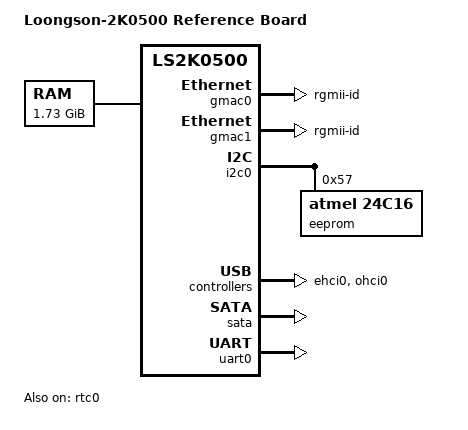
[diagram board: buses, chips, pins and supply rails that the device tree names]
// SPDX-License-Identifier: GPL-2.0
/*
 * Copyright (C) 2023 Loongson Technology Corporation Limited
 */

/dts-v1/;

#include "loongson-2k0500.dtsi"

/ {
	compatible = "loongson,ls2k0500-ref", "loongson,ls2k0500";
	model = "Loongson-2K0500 Reference Board";

	aliases {
		ethernet0 = &gmac0;
		ethernet1 = &gmac1;
		serial0 = &uart0;
	};

	chosen {
		stdout-path = "serial0:115200n8";
	};

	memory@200000 {
		device_type = "memory";
		reg = <0x0 0x00200000 0x0 0x0ee00000>,
		      <0x0 0x90000000 0x0 0x60000000>;
	};

	reserved-memory {
		#address-cells = <2>;
		#size-cells = <2>;
		ranges;

		linux,cma {
			compatible = "shared-dma-pool";
			reusable;
			size = <0x0 0x2000000>;
			linux,cma-default;
		};
	};
};

&gmac0 {
	status = "okay";

	phy-mode = "rgmii-id";
	bus_id = <0x0>;
};

&gmac1 {
	status = "okay";

	phy-mode = "rgmii-id";
	bus_id = <0x1>;
};

&i2c0 {
	status = "okay";

	#address-cells = <1>;
	#size-cells = <0>;
	eeprom@57 {
		compatible = "atmel,24c16";
		reg = <0x57>;
		pagesize = <16>;
	};
};

&ehci0 {
	status = "okay";
};

&ohci0 {
	status = "okay";
};

&sata {
	status = "okay";
};

&uart0 {
	status = "okay";
};

&rtc0 {
	status = "okay";
};
